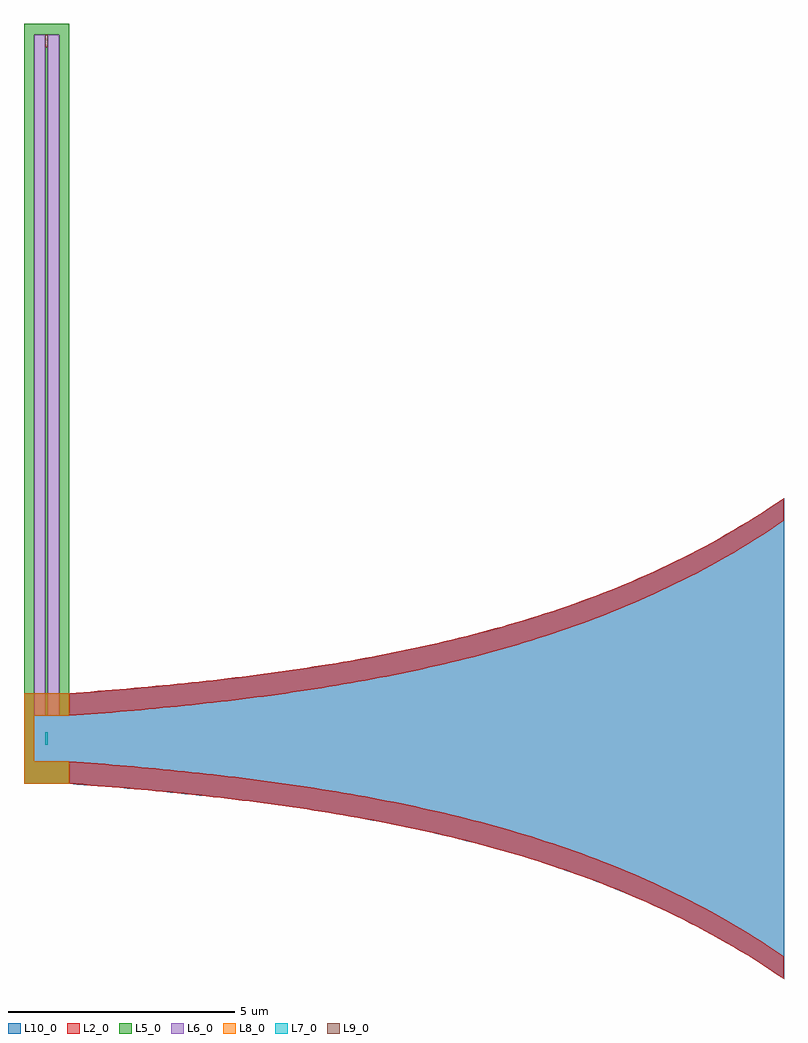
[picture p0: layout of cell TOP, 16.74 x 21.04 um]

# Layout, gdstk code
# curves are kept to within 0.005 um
import gdstk
lib = gdstk.Library(unit=1e-6, precision=1e-09)
def R(c, l, rs):  # rectangles x0, y0, x1, y1
    for r in rs: c.add(gdstk.rectangle(r[:2], r[2:], *l))
def P(c, l, *ps):  # polygons
    for p in ps: c.add(gdstk.Polygon(p, *l))
L2_0 = (2, 0)
L5_0 = (5, 0)
L6_0 = (6, 0)
L7_0 = (7, 0)
L8_0 = (8, 0)
L9_0 = (9, 0)
L10_0 = (10, 0)

top = lib.new_cell('TOP')
P(top, L2_0, [(-11.701,0.149),(-11.701,0.649),(-10.111,0.777),(-8.839,0.903),(-7.408,1.075),(-6.136,1.261),(-5.5,1.367),(-4.864,1.484),(-3.751,1.715),(-3.115,1.865),(-2.479,2.029),(-1.525,2.305),(-0.73,2.566),(-0.094,2.797),(0.701,3.118),(1.019,3.256),(1.496,3.477),(2.132,3.795),(2.768,4.144),(3.404,4.526),(4.04,4.945),(4.04,4.445),(3.404,4.026),(2.927,3.736),(2.609,3.554),(2.291,3.379),(1.814,3.132),(1.178,2.828),(0.701,2.618),(0.224,2.421),(-0.412,2.179),(-1.048,1.958),(-1.525,1.805),(-2.479,1.529),(-3.592,1.251),(-4.069,1.145),(-4.864,0.984),(-5.5,0.867),(-6.136,0.761),(-7.408,0.575),(-8.839,0.403),(-10.111,0.277)],
  [(4.04,-5.647),(3.404,-5.228),(2.768,-4.846),(2.132,-4.497),(1.496,-4.179),(0.86,-3.888),(0.383,-3.687),(-0.094,-3.499),(-0.73,-3.268),(-1.525,-3.007),(-2.479,-2.731),(-3.592,-2.453),(-4.069,-2.347),(-4.864,-2.186),(-5.5,-2.069),(-6.136,-1.963),(-7.408,-1.777),(-8.839,-1.605),(-10.111,-1.479),(-11.701,-1.351),(-11.701,-0.851),(-10.111,-0.979),(-8.839,-1.105),(-7.408,-1.277),(-6.136,-1.463),(-5.5,-1.569),(-4.864,-1.686),(-3.751,-1.917),(-3.115,-2.067),(-2.479,-2.231),(-1.525,-2.507),(-1.048,-2.66),(-0.412,-2.881),(0.224,-3.123),(0.701,-3.32),(1.178,-3.53),(1.655,-3.756),(2.132,-3.997),(2.609,-4.256),(3.245,-4.629),(3.563,-4.829),(4.04,-5.147)])
R(top, L5_0, [(-12.694,-1.351,-11.701,-0.851), (-12.694,-0.851,-12.472,0.148), (-12.223,0.147,-12.168,14.875), (-12.694,0.148,-12.472,15.15), (-11.921,0.149,-11.701,15.15), (-12.694,15.15,-11.701,15.389)])
R(top, L6_0, [(-12.168,0.147,-11.921,15.149), (-12.47,0.148,-12.223,15.15)])
R(top, L7_0, [(-12.223,-0.489,-12.168,-0.214)])
R(top, L8_0, [(-12.694,-1.351,-11.701,-0.851), (-12.694,-0.851,-12.472,0.148)])
P(top, L8_0, [(-12.694,0.148),(-12.694,0.648),(-11.701,0.649),(-11.701,0.149)])
R(top, L9_0, [(-12.223,14.875,-12.168,15.15)])
P(top, L10_0, [(4.047,-5.648),(3.57,-5.33),(3.252,-5.13),(2.934,-4.939),(2.457,-4.669),(1.821,-4.335),(1.344,-4.105),(0.867,-3.889),(0.39,-3.688),(-0.087,-3.5),(-0.564,-3.325),(-1.041,-3.161),(-1.836,-2.912),(-2.79,-2.648),(-3.426,-2.491),(-4.062,-2.348),(-5.175,-2.127),(-6.447,-1.914),(-7.56,-1.757),(-8.514,-1.641),(-9.309,-1.556),(-10.899,-1.412),(-11.694,-1.352),(-12.694,-1.352),(-12.694,0.648),(-11.694,0.648),(-10.899,0.708),(-9.309,0.852),(-8.514,0.937),(-7.56,1.053),(-6.447,1.21),(-5.175,1.423),(-4.062,1.644),(-3.426,1.787),(-2.79,1.944),(-1.836,2.208),(-1.041,2.457),(-0.564,2.621),(-0.087,2.796),(0.39,2.984),(0.867,3.185),(1.662,3.553),(2.139,3.794),(2.457,3.965),(2.934,4.235),(3.252,4.426),(3.57,4.626),(4.047,4.944)])

lib.write_gds('TOP.gds')
